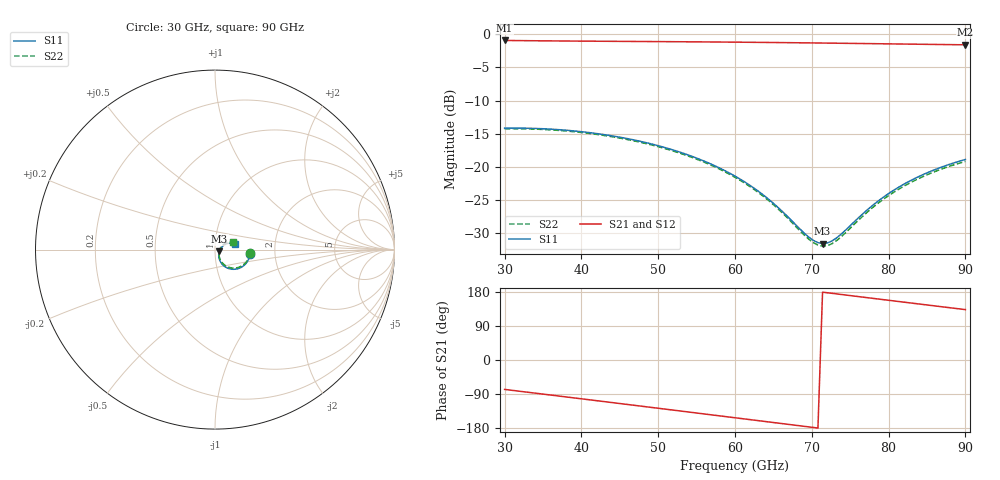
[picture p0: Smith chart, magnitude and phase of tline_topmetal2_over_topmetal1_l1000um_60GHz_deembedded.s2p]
! Created with skrf 2.0.1 (http://scikit-rf.org).
# GHz S DB R 50.0
!freq dBS11 angS11 dBS21 angS21 dBS12 angS12 dBS22 angS22
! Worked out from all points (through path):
!   101 points, 30 GHz to 90 GHz, reference 50 ohm
!   highest |S21| = -0.95 dB at 30 GHz (marker M1); lowest = -1.6 dB at 90 GHz (marker M2)
!   group delay of S21, straight-line fit = 6.94 ps
!   lowest |S11| = -31.6 dB at 71.4 GHz (marker M3), VSWR 1.05, Z = 52.5 - j0.95 ohm
!   |S11| at or under -10 dB: start of sweep to end of sweep
!   |S22| runs from -32.0 to -14.3 dB; largest |S21 - S12| = 8e-16
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30  -14.17 -7.1  -0.95 -77.6  -0.95 -77.6  -14.27 -5.6
34.8  -14.25 -17.5  -1.00 -89.5  -1.00 -89.5  -14.35 -15.7
37.2  -14.41 -22.7  -1.02 -95.5  -1.02 -95.5  -14.52 -20.8
40.2  -14.73 -29.2  -1.05 -102.9  -1.05 -102.9  -14.85 -27.0
45  -15.53 -39.2  -1.09 -114.9  -1.09 -114.9  -15.67 -36.7
50.4  -16.94 -49.9  -1.12 -128.3  -1.12 -128.3  -17.09 -47.1
55.8  -19.05 -59.4  -1.17 -141.9  -1.17 -141.9  -19.21 -56.2
60  -21.40 -64.7  -1.21 -152.4  -1.21 -152.4  -21.57 -61.3
62.4  -23.15 -66.0  -1.23 -158.5  -1.23 -158.5  -23.33 -62.6
64.2  -24.72 -65.4  -1.25 -163.0  -1.25 -163.0  -24.91 -61.9
66  -26.55 -62.4  -1.27 -167.5  -1.27 -167.5  -26.76 -59.0
69  -29.98 -47.0  -1.31 -175.0  -1.31 -175.0  -30.27 -43.6
70.2  -31.09 -35.0  -1.32 -178.0  -1.32 -178.0  -31.43 -31.5
71.4  -31.57 -20.0  -1.34 179.0  -1.34 179.0  -31.96 -16.2
72  -31.48 -12.3  -1.35 177.5  -1.35 177.5  -31.89 -8.2
73.2  -30.74 1.6  -1.36 174.5  -1.36 174.5  -31.15 6.2
77.4  -26.32 24.3  -1.42 164.0  -1.42 164.0  -26.65 29.7
80.4  -23.72 26.8  -1.47 156.6  -1.47 156.6  -24.03 32.4
82.2  -22.48 26.1  -1.49 152.2  -1.49 152.2  -22.78 31.8
84.6  -21.11 23.9  -1.53 146.2  -1.53 146.2  -21.41 29.7
87  -20.00 20.8  -1.56 140.3  -1.56 140.3  -20.29 26.8
90  -18.89 16.2  -1.60 133.0  -1.60 133.0  -19.18 22.3
